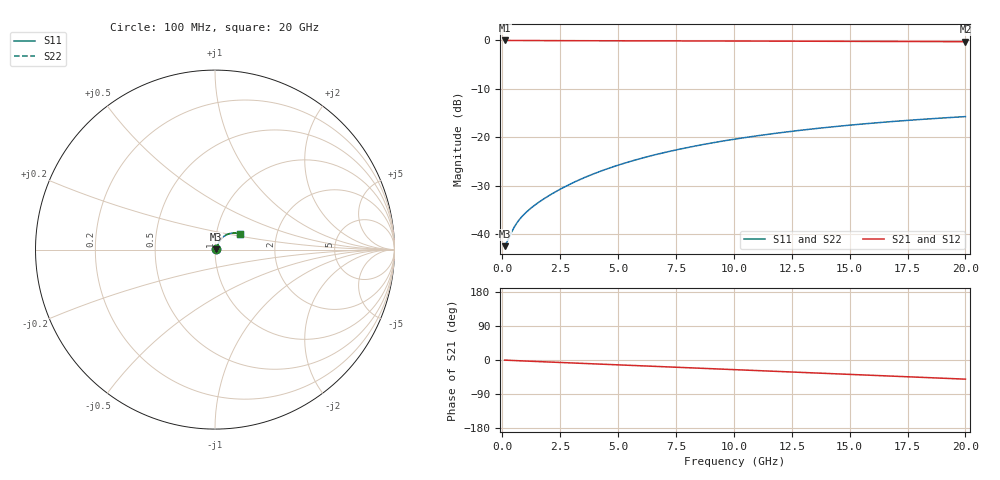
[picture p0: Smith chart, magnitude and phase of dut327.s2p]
! Touchstone file exported from HFSS 2026.1.0
!  File:  C:/ffzhzh/LocalFiles/Ansys_Project_Files/temp_train_TMRDL_327_1783003580_51716.aedt
!  Generated:  10:47:45 PM Jul  2, 2026
!  Design:  TMRDL
!  Project:  temp_train_TMRDL_327_1783003580_51716
! Variables:
!  h_bsmrdl = 2um
!  h_ox = 20um
!  h_rdl = 5um
!  h_sub = 80um
!  h_tmrdl = 2.02um
!  h_tsv = 80um
!  h_via = 3um
!  l_bsmrdl = 300um
!  l_sub = 1282.5um
!  l_tmrdl = 882.5um
!  m_sub = 200um
!  pitch = 27.81um
!  r_tsv = 6um
!  s_tmrdl = 10um
!  w_bsmrdl = 18um
!  w_sub = 500um
!  w_tmrdl = 21.98um
!  x_tsv_center1 = 893.49um
!  x_tsv_center2 = 1211.49um
!  x_tsv_center3 = 2115.97um
!  x_tsv_center4 = 2433.97um
!  x_tsv_center5 = 3338.45um
!  x_tsv_center6 = 3656.45um
# GHz S MA R 50.000000
! Terminal data exported
! Port[1] = TM_RDL1_1_T1
! Port[2] = TM_RDL1_1_T2
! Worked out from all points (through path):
!   200 points, 100 MHz to 20 GHz, reference 50 ohm
!   highest |S21| = -0.06 dB at 100 MHz (marker M1); lowest = -0.3 dB at 20 GHz (marker M2)
!   group delay of S21, straight-line fit = 7.01 ps
!   lowest |S11| = -42.5 dB at 100 MHz (marker M3), VSWR 1.02, Z = 50.7 + j0.17 ohm
!   |S11| at or under -10 dB: start of sweep to end of sweep
!   |S22| runs from -42.5 to -15.8 dB; largest |S21 - S12| = 4e-15
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0.1  0.007509 12.9  0.9927 -0.3  0.9927 -0.3  0.007509 12.9
! Gamma 0 0 0 0
! Port Impedance 50 0 50 0
0.2  0.008281 23.3  0.9924 -0.6  0.9924 -0.6  0.008281 23.3
0.4  0.01048 35.5  0.9916 -1.2  0.9916 -1.2  0.01048 35.5
0.5  0.01163 38.8  0.9911 -1.4  0.9911 -1.4  0.01162 38.8
0.6  0.01272 41.1  0.9906 -1.7  0.9906 -1.7  0.01272 41.1
0.8  0.01472 44.4  0.9898 -2.2  0.9898 -2.2  0.01472 44.4
1.1  0.01739 47.9  0.989 -3.0  0.989 -3.0  0.01738 47.9
1.5  0.02068 51.7  0.9882 -4.0  0.9882 -4.0  0.02068 51.7
2.1  0.02564 56.0  0.9876 -5.5  0.9876 -5.5  0.02564 56.0
2.8  0.03164 59.2  0.987 -7.3  0.987 -7.3  0.03164 59.2
3.5  0.03783 60.9  0.9864 -9.1  0.9864 -9.1  0.03785 60.9
4.2  0.04414 61.7  0.9858 -10.9  0.9858 -10.9  0.04415 61.7
5  0.05138 61.8  0.9851 -12.9  0.9851 -12.9  0.0514 61.8
5.9  0.05951 61.2  0.9843 -15.2  0.9843 -15.2  0.05954 61.2
6.8  0.06757 60.2  0.9833 -17.5  0.9833 -17.5  0.0676 60.2
8.4  0.08157 57.7  0.9814 -21.6  0.9814 -21.6  0.08161 57.7
10.1  0.09586 54.5  0.9792 -25.9  0.9792 -25.9  0.09592 54.5
11.7  0.1087 51.2  0.9769 -29.9  0.9769 -29.9  0.1087 51.2
13.4  0.1215 47.5  0.9743 -34.2  0.9743 -34.2  0.1216 47.5
15  0.1328 43.9  0.9719 -38.2  0.9719 -38.2  0.1329 43.9
16.7  0.1439 40.0  0.9693 -42.4  0.9693 -42.4  0.1441 40.0
20  0.1628 32.4  0.9645 -50.5  0.9645 -50.5  0.163 32.3
